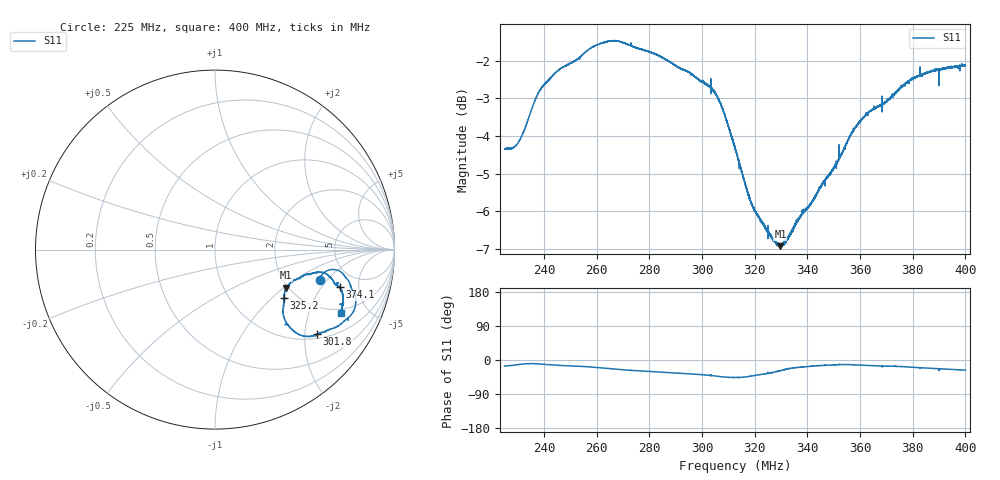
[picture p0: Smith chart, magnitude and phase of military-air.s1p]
! Calibrated averaged scanner-service zoom
# Hz S RI R 50
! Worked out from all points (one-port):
!   10001 points, 225 MHz to 400 MHz, reference 50 ohm
!   lowest |S11| = -6.9 dB at 329.7 MHz (marker M1), VSWR 2.64, Z = 97.8 - j51.8 ohm
!   |S11| at or under -10 dB: nowhere
!   S11 on the Smith chart (normalised r, x): 225 MHz: 3.13, -1.65; 301.8 MHz: 1.11, -2.31; 325.2 MHz: 1.73, -1.19; 374.1 MHz: 3.44, -3.06; 400 MHz: 1.79, -3.29
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2.25e8  0.5825 -0.1672
2.296375e8  0.5997 -0.1348
2.32455e8  0.6314 -0.1147
2.345375e8  0.6642 -0.1109
2.387025e8  0.7153 -0.1377
2.46875e8  0.7534 -0.1955
2.54505e8  0.7734 -0.2358
2.590725e8  0.7848 -0.2748
2.64305e8  0.7805 -0.3203
2.6875e8  0.7634 -0.3577
2.828375e8  0.69 -0.423
2.90625e8  0.6418 -0.4436
3.01825e8  0.5683 -0.4712
3.041175e8  0.5451 -0.4813
3.0718e8  0.4994 -0.483
3.125e8  0.422 -0.4367
3.174875e8  0.3807 -0.3655
3.2524e8  0.385 -0.2692
3.297375e8  0.3975 -0.2113
3.34375e8  0.4427 -0.1705
3.43965e8  0.514 -0.1378
3.526975e8  0.5826 -0.1253
3.5625e8  0.6166 -0.1333
3.61955e8  0.6512 -0.1644
3.741175e8  0.6948 -0.2104
3.78125e8  0.706 -0.2357
3.868575e8  0.7137 -0.2861
4e8  0.6997 -0.3541
